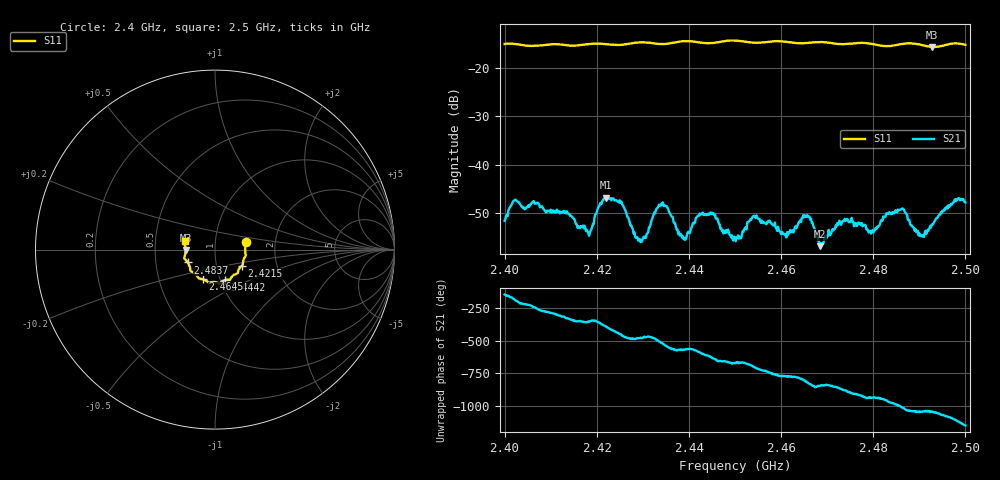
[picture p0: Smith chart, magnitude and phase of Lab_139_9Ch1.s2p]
# Hz S RI R 50
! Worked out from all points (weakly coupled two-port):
!   601 points, 2.4 GHz to 2.5 GHz, reference 50 ohm
!   highest |S21| = -46.87 dB at 2.422 GHz (marker M1); lowest = -56.9 dB at 2.4685 GHz (marker M2)
!   lowest |S11| = -15.7 dB at 2.4928 GHz (marker M3), VSWR 1.39, Z = 36 - j0.368 ohm
!   |S11| at or under -10 dB: start of sweep to end of sweep
!   S12 and S22 are empty: the file has one direction only
!   S11 on the Smith chart (normalised r, x): 2.4 GHz: 1.41, +0.12; 2.4215 GHz: 1.33, -0.25; 2.4442 GHz: 1.05, -0.37; 2.4645 GHz: 0.83, -0.29; 2.4837 GHz: 0.73, -0.11; 2.5 GHz: 0.71, +0.07
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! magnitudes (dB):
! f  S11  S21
! 2.4 GHz  -15.1  -51.6
! 2.4067 GHz  -15.5  -48.0
! 2.4167 GHz  -15.3  -52.8
! 2.4185 GHz  -15.1  -54.0
! 2.4215 GHz  -15.1  -47.1
! 2.422 GHz  -15.2  -46.9
! 2.4255 GHz  -15.3  -48.2
! 2.4295 GHz  -14.8  -56.0
! 2.4333 GHz  -15.1  -48.8
! 2.439 GHz  -14.5  -55.2
! 2.4442 GHz  -15.0  -50.1
! 2.45 GHz  -14.4  -55.1
! 2.4542 GHz  -14.9  -50.6
! 2.461 GHz  -14.7  -54.7
! 2.4645 GHz  -15.0  -51.0
! 2.4667 GHz  -14.8  -52.0
! 2.4685 GHz  -14.7  -56.9
! 2.4833 GHz  -15.6  -50.2
! 2.4837 GHz  -15.5  -50.1
! 2.4905 GHz  -15.3  -54.6
! 2.4928 GHz  -15.7  -52.5
! 2.5 GHz  -15.3  -47.8
